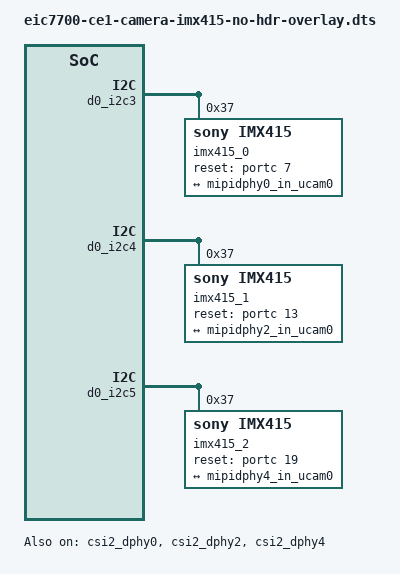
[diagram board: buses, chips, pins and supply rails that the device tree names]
/* SPDX-License-Identifier: GPL-2.0 */
/*
 * Copyright 2026, Beijing ESWIN Computing Technology Co., Ltd.. All rights reserved.
 *
 */

/dts-v1/;
/plugin/;

/ {
	fragment@0 {
		target = <&mipidphy0_in_ucam0>;
		__overlay__ {
			remote-endpoint = <&imx415_out0>;
			data-lanes = <1 2 3 4>;
		};
	};

	fragment@1 {
		target = <&mipidphy2_in_ucam0>;
		__overlay__ {
			remote-endpoint = <&imx415_out1>;
			data-lanes = <1 2 3 4>;
		};
	};

	fragment@2 {
		target = <&mipidphy4_in_ucam0>;
		__overlay__ {
			remote-endpoint = <&imx415_out2>;
			data-lanes = <1 2 3 4>;
		};
	};

	fragment@3 {
		target = <&csi2_dphy0>;
		__overlay__ {
			status = "okay";
		};
	};

	fragment@4 {
		target = <&csi2_dphy2>;
		__overlay__ {
			status = "okay";
		};
	};

	fragment@5 {
		target = <&csi2_dphy4>;
		__overlay__ {
			status = "okay";
		};
	};

	fragment@6 {
		target = <&d0_i2c3>;
		__overlay__ {
			#address-cells = <1>;
			#size-cells = <0>;
			imx415_0:imx415_0@37 {
				compatible = "sony,imx415";
				reg = <0x37>;
				clock-names="inck";
				clocks = <&d0_clock 0x244>;
				assigned-clocks = <&d0_clock 0x244>;
				assigned-clock-rates = <37125000>;
				pinctrl-names = "default";
				pinctrl-0 = <&pinctrl_gpio71_default>;
				reset-gpio = <&portc 7 0>;
				eswin,camera-hdr-mode = <0>;
				power-domains = <&d0_pmu 2>;
				status = "okay";
				port {
					imx415_out0: endpoint {
						remote-endpoint = <&mipidphy0_in_ucam0>;
						data-lanes = <1 2 3 4>;
						link-frequencies = /bits/ 64 <742500000>;
					};
				};
			};
		};
	};

	fragment@7 {
		target = <&d0_i2c4>;
		__overlay__ {
			#address-cells = <1>;
			#size-cells = <0>;
			imx415_1:imx415_1@37 {
				compatible = "sony,imx415";
				reg = <0x37>;
				clock-names="inck";
				clocks = <&d0_clock 0x244>;
				assigned-clocks = <&d0_clock 0x244>;
				assigned-clock-rates = <37125000>;
				pinctrl-names = "default";
				pinctrl-0 = <&pinctrl_gpio77_default>;
				reset-gpio = <&portc 13 0>;
				eswin,camera-hdr-mode = <0>;
				power-domains = <&d0_pmu 2>;
				status = "okay";
				port {
					imx415_out1: endpoint {
						remote-endpoint = <&mipidphy2_in_ucam0>;
						data-lanes = <1 2 3 4>;
						link-frequencies = /bits/ 64 <742500000>;
					};
				};
			};
		};
	};

	fragment@8 {
		target = <&d0_i2c5>;
		__overlay__ {
			#address-cells = <1>;
			#size-cells = <0>;
			imx415_2:imx415_2@37 {
				compatible = "sony,imx415";
				reg = <0x37>;
				clock-names="inck";
				clocks = <&d0_clock 0x244>;
				assigned-clocks = <&d0_clock 0x244>;
				assigned-clock-rates = <37125000>;
				pinctrl-names = "default";
				pinctrl-0 = <&pinctrl_gpio83_default>;
				reset-gpio = <&portc 19 0>;
				eswin,camera-hdr-mode = <0>;
				power-domains = <&d0_pmu 2>;
				status = "okay";
				port {
					imx415_out2: endpoint {
						remote-endpoint = <&mipidphy4_in_ucam0>;
						data-lanes = <1 2 3 4>;
						link-frequencies = /bits/ 64 <742500000>;
					};
				};
			};
		};
	};

	fragment@9 {
		target = <&mipi_csi2_0>;
		__overlay__ {
			num_lanes = <4>;
			eswin,csi-hdr-mode = <0>;
		};
	};

	fragment@10 {
		target = <&mipi_csi2_2>;
		__overlay__ {
			num_lanes = <4>;
			eswin,csi-hdr-mode = <0>;
		};
	};

	fragment@11 {
		target = <&mipi_csi2_4>;
		__overlay__ {
			num_lanes = <4>;
			eswin,csi-hdr-mode = <0>;
		};
	};

	fragment@12 {
		target = <&dvp2axi_mipi_lvds0>;
		__overlay__ {
			eswin,dvp2axi-hdr-mode = <0>;
		};
	};

	fragment@13 {
		target = <&dvp2axi_mipi_lvds1>;
		__overlay__ {
			eswin,dvp2axi-hdr-mode = <0>;
		};
	};

	fragment@14 {
		target = <&dvp2axi_mipi_lvds2>;
		__overlay__ {
			eswin,dvp2axi-hdr-mode = <0>;
		};
	};

	fragment@15 {
		target = <&dvp2axi_mipi_lvds3>;
		__overlay__ {
			eswin,dvp2axi-hdr-mode = <0>;
		};
	};

	fragment@16 {
		target = <&dvp2axi_mipi_lvds4>;
		__overlay__ {
			eswin,dvp2axi-hdr-mode = <0>;
		};
	};

	fragment@17 {
		target = <&dvp2axi_mipi_lvds5>;
		__overlay__ {
			eswin,dvp2axi-hdr-mode = <0>;
		};
	};

	fragment@18 {
		target = <&imx219_0>;
		__overlay__ {
			status="disabled";
		};
	};

	fragment@19 {
		target = <&imx219_1>;
		__overlay__ {
			status="disabled";
		};
	};

	fragment@20 {
		target = <&imx219_2>;
		__overlay__ {
			status="disabled";
		};
	};

	fragment@21 {
		target = <&csi2_dphy_hw0>;
		__overlay__ {
			lanes = <1 2 3 4>;
			lanes-dp-dn = <0 0 0 0>;
		};
	};

	fragment@22 {
		target = <&csi2_dphy_hw2>;
		__overlay__ {
			lanes = <1 2 3 4>;
			lanes-dp-dn = <0 0 0 0>;
		};
	};

	fragment@23 {
		target = <&csi2_dphy_hw4>;
		__overlay__ {
			lanes = <1 2 3 4>;
			lanes-dp-dn = <0 0 0 0>;
		};
	};

	fragment@24 {
		target = <&vi_subsys>;
		__overlay__ {
			phy_mode = <2>;
		};
	};
};
